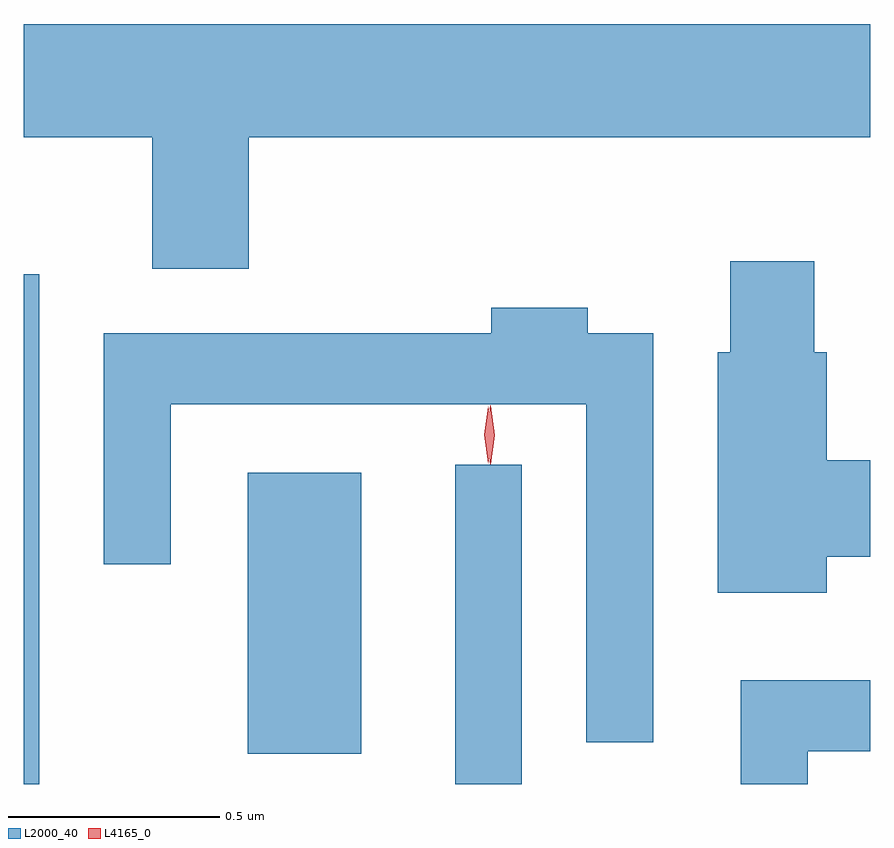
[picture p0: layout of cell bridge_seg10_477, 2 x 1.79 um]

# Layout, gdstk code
import gdstk
lib = gdstk.Library(unit=1e-6, precision=1e-09)
def R(c, l, rs):  # rectangles x0, y0, x1, y1
    for r in rs: c.add(gdstk.rectangle(r[:2], r[2:], *l))
def P(c, l, *ps):  # polygons
    for p in ps: c.add(gdstk.Polygon(p, *l))
L2000_40 = (2000, 40)
L4165_0 = (4165, 0)

bridge_seg10_477 = lib.new_cell('bridge_seg10_477')
R(bridge_seg10_477, L2000_40, [(1441.657,2101.289,1441.694,2102.493), (1442.676,2101.289,1442.834,2102.043), (1442.186,2101.361,1442.454,2102.024)])
P(bridge_seg10_477, L2000_40, [(1442.189,2102.816),(1443.657,2102.816),(1443.657,2103.084),(1441.657,2103.084),(1441.657,2102.816),(1441.961,2102.816),(1441.961,2102.506),(1442.189,2102.506)],
  [(1443.554,2101.826),(1443.657,2101.826),(1443.657,2102.054),(1443.554,2102.054),(1443.554,2102.309),(1443.524,2102.309),(1443.524,2102.524),(1443.326,2102.524),(1443.326,2102.309),(1443.296,2102.309),(1443.296,2101.741),(1443.554,2101.741)],
  [(1443.144,2102.354),(1442.989,2102.354),(1442.989,2102.414),(1442.761,2102.414),(1442.761,2102.354),(1441.846,2102.354),(1441.846,2101.808),(1442.004,2101.808),(1442.004,2102.186),(1442.986,2102.186),(1442.986,2101.388),(1443.144,2101.388)],
  [(1443.509,2101.366),(1443.657,2101.366),(1443.657,2101.534),(1443.351,2101.534),(1443.351,2101.289),(1443.509,2101.289)])
P(bridge_seg10_477, L4165_0, [(1442.754,2102.047),(1442.745,2102.114),(1442.754,2102.18),(1442.755,2102.18),(1442.755,2102.18),(1442.765,2102.114),(1442.755,2102.047),(1442.755,2102.047)],
  [(1442.759,2102.044),(1442.75,2102.113),(1442.759,2102.182),(1442.76,2102.183),(1442.76,2102.182),(1442.77,2102.113),(1442.76,2102.044),(1442.76,2102.044)])

lib.write_gds('bridge_seg10_477.gds')
